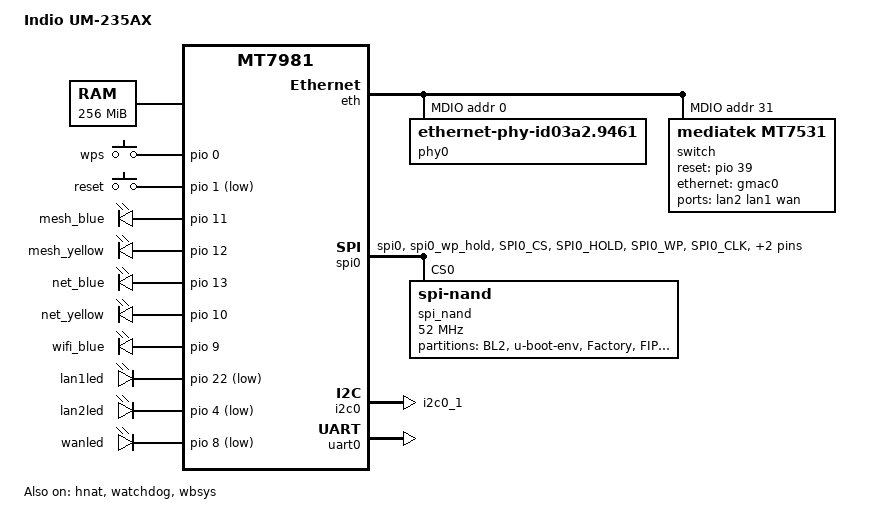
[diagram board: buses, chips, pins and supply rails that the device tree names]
// SPDX-License-Identifier: GPL-2.0-or-later OR MIT
/*
 * Copyright (c) 2025, Shubham Vishwakarma <shubhamvis98@fossfrog.in>
 */

/dts-v1/;

#include <dt-bindings/input/input.h>
#include <dt-bindings/gpio/gpio.h>

#include "mt7981.dtsi"

/ {
	model = "Indio UM-235AX";
	compatible = "indio,um-235ax";

	aliases {
		serial0 = &uart0;
		led-boot = &led_power;
	};

	chosen {
		stdout-path = "serial0:115200n8";
	};

	memory {
		reg = <0 0x40000000 0 0x10000000>;
	};

	gpio-keys {
		compatible = "gpio-keys";

		wps {
			label = "wps";
			gpios = <&pio 0 GPIO_ACTIVE_HIGH>;
			linux,code = <KEY_WPS_BUTTON>;
		};

		reset {
			label = "reset";
			gpios = <&pio 1 GPIO_ACTIVE_LOW>;
			linux,code = <KEY_RESTART>;
		};
	};

	leds {
		compatible = "gpio-leds";

		mesh_blue {
			label = "mesh_blue";
			gpios = <&pio 11 GPIO_ACTIVE_HIGH>;
		};

		led_power: mesh_yellow {
			label = "mesh_yellow";
			gpios = <&pio 12 GPIO_ACTIVE_HIGH>;
		};

		net_blue {
			label = "net_blue";
			gpios = <&pio 13 GPIO_ACTIVE_HIGH>;
		};

		net_yellow {
			label = "net_yellow";
			gpios = <&pio 10 GPIO_ACTIVE_HIGH>;
		};

		wifi_blue {
			label = "wifi_blue";
			gpios = <&pio 9 GPIO_ACTIVE_HIGH>;
		};

		lan1led {
			label = "lan1led";
			gpios = <&pio 22 GPIO_ACTIVE_LOW>;
		};

		lan2led {
			label = "lan2led";
			gpios = <&pio 4 GPIO_ACTIVE_LOW>;
		};

		wanled {
			label = "wanled";
			gpios = <&pio 8 GPIO_ACTIVE_LOW>;
		};
	};
};

&eth {
	status = "okay";

	gmac0: mac@0 {
		compatible = "mediatek,eth-mac";
		reg = <0>;
		phy-mode = "2500base-x";
		mtd-mac-address = <&factory 0x24>;

		fixed-link {
			speed = <2500>;
			full-duplex;
			pause;
		};
	};

	gmac1: mac@1 {
		compatible = "mediatek,eth-mac";
		reg = <1>;
		phy-mode = "gmii";
		phy-handle = <&phy0>;
		mtd-mac-address = <&factory 0x2a>;
	};

	mdio: mdio-bus {
		#address-cells = <1>;
		#size-cells = <0>;

		phy0: ethernet-phy@0 {
			compatible = "ethernet-phy-id03a2.9461";
			reg = <0>;
			phy-mode = "gmii";
			nvmem-cells = <&phy_calibration>;
			nvmem-cell-names = "phy-cal-data";
		};

		switch@0 {
			compatible = "mediatek,mt7531";
			reg = <31>;
			reset-gpios = <&pio 39 0>;

			ports {
				#address-cells = <1>;
				#size-cells = <0>;

				port@1 {
					reg = <1>;
					label = "lan2";
				};

				port@3 {
					reg = <3>;
					label = "lan1";
				};

				port@5 {
					reg = <5>;
					label = "wan";
					phy-mode = "2500base-x";

					fixed-link {
						speed = <2500>;
						full-duplex;
						pause;
					};
				};

				port@6 {
					reg = <6>;
					ethernet = <&gmac0>;
					phy-mode = "2500base-x";

					fixed-link {
						speed = <2500>;
						full-duplex;
						pause;
					};
				};
			};
		};
	};
};

&spi0 {
	pinctrl-names = "default";
	pinctrl-0 = <&spi0_flash_pins>;
	status = "okay";

	spi_nand: flash@0 {
		#address-cells = <1>;
		#size-cells = <1>;
		compatible = "spi-nand";
		reg = <0>;

		spi-max-frequency = <52000000>;
		spi-tx-buswidth = <4>;
		spi-rx-buswidth = <4>;

		partitions {
			compatible = "fixed-partitions";
			#address-cells = <1>;
			#size-cells = <1>;

			partition@0 {
				label = "BL2";
				reg = <0x0 0x100000>;
			};

			partition@100000 {
				label = "u-boot-env";
				reg = <0x100000 0x80000>;
			};

			factory: partition@180000 {
				label = "Factory";
				reg = <0x180000 0x200000>;
			};

			partition@380000 {
				label = "FIP";
				reg = <0x380000 0x200000>;
			};

			partition@580000 {
				label = "ubi";
				reg = <0x580000 0x4000000>;
			};

			partition@4580000 {
				label = "nvram_config";
				reg = <0x4580000 0x80000>;
			};
		};
	};
};

&pio {
	i2c_pins: i2c-pins-g0 {
		mux {
			function = "i2c";
			groups = "i2c0_1";
		};
	};

	spi0_flash_pins: spi0-pins {
		mux {
			function = "spi";
			groups = "spi0", "spi0_wp_hold";
		};

		conf-pu {
			pins = "SPI0_CS", "SPI0_HOLD", "SPI0_WP";
			drive-strength = <MTK_DRIVE_8mA>;
			bias-pull-up = <MTK_PUPD_SET_R1R0_11>;
		};

		conf-pd {
			pins = "SPI0_CLK", "SPI0_MOSI", "SPI0_MISO";
			drive-strength = <MTK_DRIVE_8mA>;
			bias-pull-down = <MTK_PUPD_SET_R1R0_11>;
		};
	};
};

&hnat {
	mtketh-wan = "wan";
	mtketh-lan = "eth0";
	mtketh-max-gmac = <2>;
	status = "okay";
};

&i2c0 {
	pinctrl-names = "default";
	pinctrl-0 = <&i2c_pins>;
	status = "okay";

};

&uart0 {
	status = "okay";
};

&watchdog {
	status = "okay";
};

&wbsys {
	status = "okay";

	mediatek,mtd-eeprom = <&factory 0x0>;
	pinctrl-names = "dbdc";
	pinctrl-0 = <&wf_dbdc_pins>;
};

&pio {
	wf_dbdc_pins: wf_dbdc-pins {
		mux {
			function = "eth";
			groups = "wf0_mode1";
		};
		conf {
			pins = "WF_HB1", "WF_HB2", "WF_HB3", "WF_HB4",
				"WF_HB0", "WF_HB0_B", "WF_HB5", "WF_HB6",
				"WF_HB7", "WF_HB8", "WF_HB9", "WF_HB10",
				"WF_TOP_CLK", "WF_TOP_DATA", "WF_XO_REQ",
				"WF_CBA_RESETB", "WF_DIG_RESETB";
			drive-strength = <MTK_DRIVE_4mA>;
		};
	};
};
